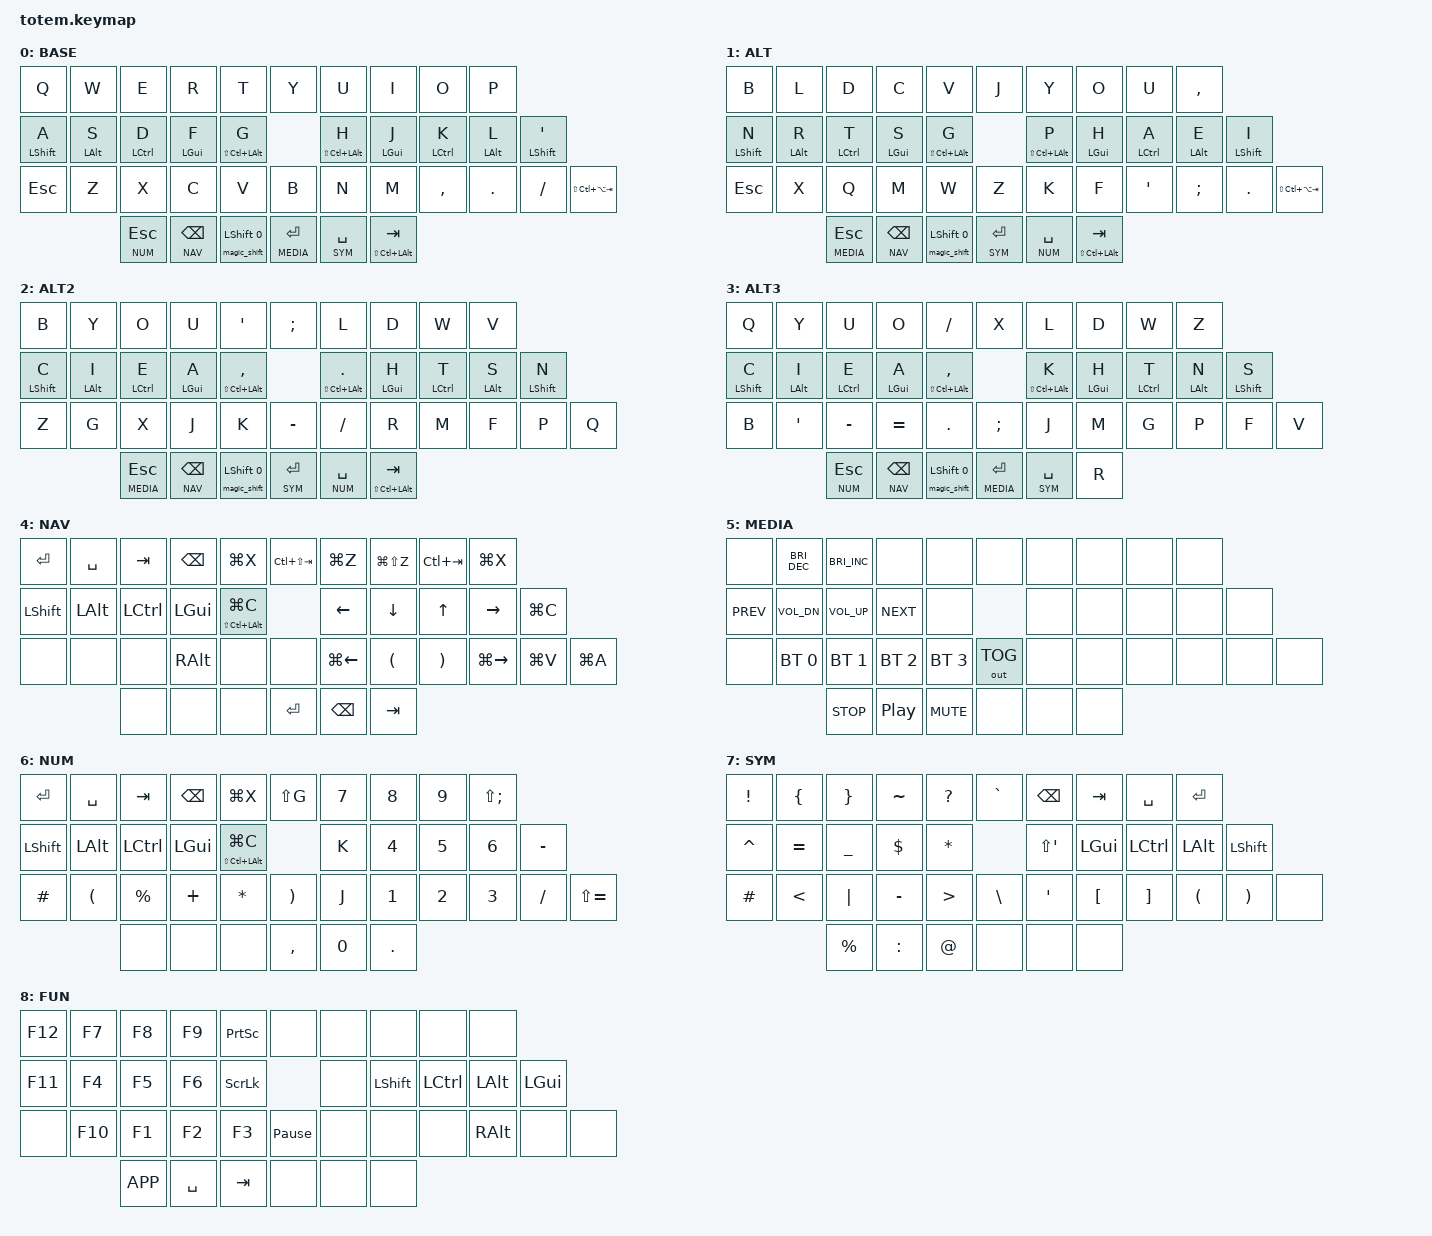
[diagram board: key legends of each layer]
//
//                                                        ▀▀▀▀▀     ▀▀▀▀▀          ▀▀█▀▀
//                                                        ▄▀▀▀▄  ▄  ▄▀▀▀▄  ▄  ▄▀▀▀▄  █  ▄▀▀▀▄
//                                                        █   █  █  █   █  █  █   █  █  █   █
//                                                         ▀▀▀   █   ▀▀▀   █   ▀▀▀   ▀   ▀▀▀
//                                                               █      ▄▄▄█▄▄▄    █   █
//                                                               ▀      █  █  █     █▄█
//                                                             ▀▀▀▀▀    █  █  █      ▀
//                                                                      ▀  ▀  ▀
//
// ▄▄▄▄▄▄▄▄▄▄▄▄▄▄▄▄▄▄▄▄▄▄▄▄▄▄▄▄▄▄▄▄▄▄▄▄▄▄▄▄▄▄▄▄▄▄▄▄▄▄▄▄▄▄▄▄▄▄▄▄▄▄▄▄▄▄▄▄▄▄▄▄▄▄▄▄▄▄▄▄▄▄▄▄▄▄▄▄▄▄▄▄▄▄▄▄▄▄▄▄▄▄▄▄▄▄▄▄▄▄▄▄▄▄▄▄▄▄▄▄▄▄▄▄▄▄▄▄▄▄▄▄▄▄▄▄▄▄▄▄▄▄▄▄▄▄▄▄▄


#include <behaviors.dtsi>
#include <dt-bindings/zmk/keys.h>
#include <dt-bindings/zmk/bt.h>
#include <dt-bindings/zmk/outputs.h>
#include "zmk-helpers/helper.h"

// Source desired key-position labels
#include "zmk-helpers/key-labels/totem.h"

// Customise build and behaviour timings
// HOLDING_TIME
#define HRM_TAPPING_TERM      400
// REPEAT DECAY
#define HRM_QUICK_TAP         175
// STREAK DECAY
#define HRM_PRIOR_IDLE        150
#define LT_QUICK_TAP          175
#define SS_QUICK_TAP          175
#define STICKY_KEY_RELEASE_MS 2000
#undef  COMBO_TERM
#define COMBO_TERM            50
#define COMBO_PRIOR_IDLE      50
#define HOLD_TAP_TAPPING_TERM 200

/* Layer Definitions */
#define BASE  0
#define ALT   1
#define ALT2  2
#define ALT3  3
#define NAV   4
#define MEDIA 5
#define NUM   6
#define SYM   7
#define FUN   8

/* define shortcodes for unused keys per layer */
#define XXX &none
#define ___ &trans

/* Functions for clipboard - mac specific */
#define U_RDO &kp LS(LG(Z))
#define U_PST &kp LG(V)
#define U_CPY &kp LG(C)
#define U_CUT &kp LG(X)
#define U_UND &kp LG(Z)

/* Customise default behaviours */
&mt {
  tapping-term-ms = <HOLD_TAP_TAPPING_TERM>;
  flavor = "balanced";
};

&lt {
  tapping-term-ms = <HOLD_TAP_TAPPING_TERM>;
  quick-tap-ms = <LT_QUICK_TAP>;
  flavor = "tap-preferred";
};

/* Homerow mods */
#define KEYS_L LT0 LT1 LT2 LT3 LT4 LM0 LM1 LM2 LM3 LM4 LB0 LB1 LB2 LB3 LB4 LB5
#define KEYS_R RT0 RT1 RT2 RT3 RT4 RM0 RM1 RM2 RM3 RM4 RB0 RB1 RB2 RB3 RB4 LB5
#define THUMBS LH2 LH1 LH0 RH0 RH1 RH2

#define MAKE_HRM(NAME, HOLD, TAP, TRIGGER_POS)                                 \
  ZMK_HOLD_TAP(NAME, bindings = <HOLD>, <TAP>; flavor = "balanced";            \
               tapping-term-ms = <HRM_TAPPING_TERM>; quick-tap-ms = <HRM_QUICK_TAP>;         \
               require-prior-idle-ms = <HRM_PRIOR_IDLE>; hold-trigger-on-release;         \
               hold-trigger-key-positions = <TRIGGER_POS>;)

MAKE_HRM(hml, &kp, &kp, KEYS_R THUMBS) // Left-hand HRMs.
MAKE_HRM(hmr, &kp, &kp, KEYS_L THUMBS) // Right-hand HRMs.

// Tap: repeat after alpha, else sticky-shift |
// Shift + tap/ double-tap: caps-word | Hold: shift.
#define MAGIC_SHIFT &magic_shift LSHFT 0
ZMK_HOLD_TAP(magic_shift, bindings = <&kp>, <&magic_shift_tap>;
             flavor = "balanced"; tapping-term-ms = <200>;
             quick-tap-ms = <SS_QUICK_TAP>;)
ZMK_MOD_MORPH(magic_shift_tap, bindings = <&shift_repeat>, <&caps_word>;
              mods = <(MOD_LSFT)>;)
ZMK_ADAPTIVE_KEY(
    shift_repeat, bindings = <&sk LSHFT>;
    repeat {
      trigger-keys = <A B C D E F G H I J K L M N O P Q R S T U V W X Y Z>;
      bindings = <&key_repeat>;
      max-prior-idle-ms = <1200>;
      strict-modifiers;
    };)
&caps_word { // Mods deactivate caps-word, requires PR #1451. [TODO: rebase]
  /delete-property/ ignore-modifiers;
};

#include "combos.dtsi"
/ {
        keymap {
                compatible = "zmk,keymap";

                base_layer {
label= "BASE"                              ;
  bindings = <
//╭──────────────┬──────────────┬──────────────┬──────────────┬──────────────╮   ╭──────────────┬──────────────┬──────────────┬──────────────┬──────────────╮
    &kp Q         &kp W          &kp E          &kp R          &kp T              &kp Y          &kp U          &kp I          &kp O          &kp P
//├──────────────┬──────────────┬──────────────┬──────────────┬──────────────╮   ╭──────────────┬──────────────┬──────────────┬──────────────┬──────────────╮
    &hml LSHFT A  &hml LALT S    &hml LCTRL D   &hml LGUI F    &hml LS(LC(LALT)) G  &hmr LS(LC(LALT)) H  &hmr LGUI J    &hmr LCTRL K   &hmr LALT L    &hmr LSHFT SQT
//├──────────────┬──────────────┬──────────────┬──────────────┬──────────────╮   ╭──────────────┬──────────────┬──────────────┬──────────────┬──────────────╮
    &kp ESC       &kp Z          &kp X          &kp C          &kp V              &kp B          &kp N          &kp M          &kp COMMA      &kp DOT        &kp SLASH      &kp LS(LC(LA(TAB)))
//                                ╭──────────────┬──────────────┬──────────────╮   ╭──────────────┬──────────────┬──────────────╮
                                  &lt NUM ESC  &lt NAV BSPC   MAGIC_SHIFT            &lt MEDIA RET    &lt SYM SPACE  &mt LS(LC(LALT)) TAB
//                                ╰──────────────┴──────────────┴──────────────╯   ╰──────────────┴──────────────┴──────────────╯
  >;
                };

                alt_layer {
label= "ALT"                              ;
  bindings = <
/* Gallium Colstag https://github.com/GalileoBlues/Gallium */
//╭──────────────┬──────────────┬──────────────┬──────────────┬──────────────╮   ╭──────────────┬──────────────┬──────────────┬──────────────┬──────────────╮
    &kp B         &kp L          &kp D          &kp C          &kp V              &kp J          &kp Y          &kp O          &kp U          &kp COMMA
//├──────────────┬──────────────┬──────────────┬──────────────┬──────────────╮   ╭──────────────┬──────────────┬──────────────┬──────────────┬──────────────╮
    &hml LSHFT N  &hml LALT R    &hml LCTRL T   &hml LGUI S    &hml LS(LC(LALT)) G  &hmr LS(LC(LALT)) P  &hmr LGUI H    &hmr LCTRL A   &hmr LALT E    &hmr LSHFT I
//├──────────────┬──────────────┬──────────────┬──────────────┬──────────────╮   ╭──────────────┬──────────────┬──────────────┬──────────────┬──────────────╮
    &kp ESC       &kp X          &kp Q          &kp M          &kp W              &kp Z          &kp K          &kp F          &kp SQT      &kp SEMICOLON        &kp DOT      &kp LS(LC(LA(TAB)))
//                                ╭──────────────┬──────────────┬──────────────╮   ╭──────────────┬──────────────┬──────────────╮
                                  &lt MEDIA ESC  &lt NAV BSPC   MAGIC_SHIFT            &lt SYM RET    &lt NUM SPACE  &mt LS(LC(LALT)) TAB
//                                ╰──────────────┴──────────────┴──────────────╯   ╰──────────────┴──────────────┴──────────────╯
  >;
                };

                alt2_layer {
label= "ALT2"                              ;
bindings = <
/* Engrammer https://github.com/sunaku/engrammer */
//╭──────────────┬──────────────┬──────────────┬──────────────┬──────────────╮   ╭──────────────┬──────────────┬──────────────┬──────────────┬──────────────╮
&kp B         &kp Y          &kp O          &kp U          &kp SQT              &kp SEMICOLON     &kp L          &kp D          &kp W          &kp V
//├──────────────┬──────────────┬──────────────┬──────────────┬──────────────╮   ╭──────────────┬──────────────┬──────────────┬──────────────┬──────────────╮
&hml LSHFT C  &hml LALT I    &hml LCTRL E   &hml LGUI A    &hml LS(LC(LALT)) COMMA  &hmr LS(LC(LALT)) DOT  &hmr LGUI H    &hmr LCTRL T   &hmr LALT S    &hmr LSHFT N
//├──────────────┬──────────────┬──────────────┬──────────────┬──────────────╮   ╭──────────────┬──────────────┬──────────────┬──────────────┬──────────────╮
&kp Z       &kp G          &kp X          &kp J          &kp K              &kp MINUS          &kp SLASH          &kp R          &kp M      &kp F        &kp P      &kp Q
//                                ╭──────────────┬──────────────┬──────────────╮   ╭──────────────┬──────────────┬──────────────╮
                  &lt MEDIA ESC  &lt NAV BSPC   MAGIC_SHIFT            &lt SYM RET    &lt NUM SPACE  &mt LS(LC(LALT)) TAB
//                                ╰──────────────┴──────────────┴──────────────╯   ╰──────────────┴──────────────┴──────────────╯
>;
};
alt3_layer {
label= "ALT3"                              ;
bindings = <
/* Enthium https://github.com/sunaku/enthium */
/*   q y u o / x l d w z */
/* b c i e a , k h t n s v */
/*   ' - = . ; j m g p f */
/*             r */
//    ╭──────────────┬──────────────┬──────────────┬──────────────┬──────────────╮          ╭──────────────┬──────────────┬──────────────┬──────────────┬──────────────╮
      &kp Q         &kp Y           &kp U          &kp O          &kp SLASH                  &kp X     &kp L          &kp D          &kp W          &kp Z
//    ├──────────────┬──────────────┬──────────────┬──────────────┬──────────────╮          ╭──────────────┬──────────────┬──────────────┬──────────────┬──────────────╮
      &hml LSHFT C  &hml LALT I     &hml LCTRL E   &hml LGUI A    &hml LS(LC(LALT)) COMMA    &hmr LS(LC(LALT)) K  &hmr LGUI H    &hmr LCTRL T   &hmr LALT N    &hmr LSHFT S
//    ├──────────────┬──────────────┬──────────────┬──────────────┬──────────────╮          ╭──────────────┬──────────────┬──────────────┬──────────────┬──────────────╮
&kp B &kp SQT       &kp MINUS       &kp EQUAL      &kp DOT         &kp SEMICOLON             &kp J          &kp M          &kp G      &kp P        &kp F      &kp V
//                                ╭──────────────┬──────────────┬──────────────╮            ╭──────────────┬──────────────┬──────────────╮
                                   &lt NUM ESC    &lt NAV BSPC   MAGIC_SHIFT                 &lt MEDIA RET  &lt SYM SPACE  &kp R
//                                ╰──────────────┴──────────────┴──────────────╯            ╰──────────────┴──────────────┴──────────────╯
>;
};
                nav_layer {
// ┏━━━━━━━━━━━━━━━━━━━━━━━━━━━━━━━━━━━━━━━┓
label= "NAV"                              ;
// ┗━━━━━━━━━━━━━━━━━━━━━━━━━━━━━━━━━━━━━━━┛
  bindings = <
//  ╭──────────────┬──────────────┬──────────────┬──────────────┬──────────────╮       ╭──────────────┬──────────────┬──────────────┬──────────────┬──────────────╮
      &kp RET       &kp SPACE     &kp TAB        &kp BSPC       &kp LG(X)               &kp LC(LS(TAB)) &kp LG(Z)     &kp LG(LS(Z))  &kp LC(TAB)     &kp LG(X)
      &kp LSHFT     &kp LALT      &kp LCTRL      &kp LGUI       &mt LS(LC(LALT)) LG(C)  &kp LEFT        &kp DOWN      &kp UP         &kp RIGHT       &kp LG(C)
XXX   XXX           XXX           &kp RALT       XXX            XXX                     &kp LG(LEFT)    &kp LPAR      &kp RPAR       &kp LG(RIGHT)   &kp LG(V)    &kp LG(A)
                                XXX           XXX           XXX                       &kp RET         &kp BSPC       &kp TAB
//                               ╰──────────────┴──────────────┴──────────────╯         ╰──────────────┴──────────────┴──────────────╯
                         >;
                };

                media_layer {
// ┏━━━━━━━━━━━━━━━━━━━━━━━━━━━━━━━━━━━━━━━┓
label= "MEDIA"                               ;
// ┗━━━━━━━━━━━━━━━━━━━━━━━━━━━━━━━━━━━━━━━┛
  bindings = <
    // ┌─────────────┬─────────────┬─────────────┬─────────────┬─────────────┐   ┌─────────────┬─────────────┬─────────────┬─────────────┬─────────────┐
    // │             │             │             │             │             │   │             │             │             │             │             │
        XXX    &kp C_BRIGHTNESS_DEC  &kp C_BRIGHTNESS_INC    XXX        XXX         XXX         XXX           XXX           XXX             XXX
    //  ├─────────────┼─────────────┼─────────────┼─────────────┼────────────┤   ├─────────────┼─────────────┼─────────────┼─────────────┼─────────────┤
    //  │  PREV       │  VOL DOWN   │  VOL UP     │  NEXT       │            │   │             │             │             │             │             │
        &kp C_PREV    &kp C_VOL_DN  &kp C_VOL_UP  &kp C_NEXT    XXX                XXX              XXX       XXX             XXX             XXX
    //  ├─────────────┼─────────────┼─────────────┼─────────────┼────────────┤   ├─────────────┼─────────────┼─────────────┼─────────────┼─────────────┤
    //  │  BT 0       │  BT 1       │  BT 2       │  BT 3       │  OUT TOGGLE│   │             │             │             │             │             │
XXX       &bt BT_SEL 0  &bt BT_SEL 1  &bt BT_SEL 2  &bt BT_SEL 3  &out OUT_TOG    XXX              XXX       XXX             XXX             XXX          XXX
    //  ├─────────────┼─────────────┼─────────────┴─────────────┴────────────┤   ├─────────────┼─────────────┼─────────────┴─────────────┴─────────────┘
    //                              │  STOP       │  PLAY/PAUSE │  MUTE      │   │             │             │
                                       &kp C_STOP    &kp C_PP      &kp C_MUTE     XXX          XXX          XXX
    //                              └────────────┴─────────────┴─────────────┘   └─────────────┴─────────────┴─────────────┘
  >;
                };

                number_layer {
// ┏━━━━━━━━━━━━━━━━━━━━━━━━━━━━━━━━━━━━━━━┓
label= "NUM"                               ;
// ┗━━━━━━━━━━━━━━━━━━━━━━━━━━━━━━━━━━━━━━━┛
 bindings = <
         &kp RET    &kp SPACE   &kp TAB    &kp BSPC     &kp LG(X)                  &kp LS(G)  &kp N7    &kp N8    &kp N9    &kp LS(SEMI)
         &kp LSHFT  &kp LALT    &kp LCTRL  &kp LGUI     &mt LS(LC(LALT)) LG(C)     &kp K      &kp N4    &kp N5    &kp N6    &kp MINUS
&kp HASH &kp LPAR   &kp PERCENT &kp PLUS   &kp ASTRK    &kp RPAR                   &kp J      &kp N1    &kp N2    &kp N3    &kp SLASH   &kp LS(EQUAL)
                                     XXX       XXX           XXX                   &kp COMMA  &kp N0    &kp DOT
                        >;
                };


                symbol_layer {
// ┏━━━━━━━━━━━━━━━━━━━━━━━━━━━━━━━━━━━━━━━┓
label= "SYM"                             ;
// ┗━━━━━━━━━━━━━━━━━━━━━━━━━━━━━━━━━━━━━━━┛
 bindings = <
            &kp EXCL       &kp LBRC  &kp RBRC       &kp TILDE         &kp QMARK          &kp GRAVE    &kp BSPC    &kp TAB   &kp SPACE   &kp RET
            &kp CARET      &kp EQUAL &kp UNDERSCORE &kp DOLLAR        &kp ASTRK          &kp LS(SQT)  &kp LGUI    &kp LCTRL &kp LALT    &kp LSHFT
  &kp HASH  &kp LESS_THAN  &kp PIPE  &kp MINUS      &kp GREATER_THAN  &kp BSLH           &kp SQT      &kp LBKT    &kp RBKT  &kp LPAR    &kp RPAR XXX
                                       &kp PERCENT    &kp COLON         &kp AT             XXX      XXX      XXX
                        >;
                };

                function_layer {
// ┏━━━━━━━━━━━━━━━━━━━━━━━━━━━━━━━━━━━━━━━┓
label= "FUN"                             ;
// ┗━━━━━━━━━━━━━━━━━━━━━━━━━━━━━━━━━━━━━━━┛
 bindings = <
  &kp F12     &kp F7    &kp F8    &kp F9    &kp PSCRN     XXX      XXX  XXX   XXX   XXX
  &kp F11     &kp F4    &kp F5    &kp F6    &kp SLCK      XXX      &kp LSHFT   &kp LCTRL   &kp LALT    &kp LGUI
  XXX &kp F10     &kp F1    &kp F2    &kp F3    &kp PAUSE_BREAK   XXX      XXX   XXX   &kp RALT    XXX XXX
              &kp K_APP   &kp SPACE   &kp TAB       XXX      XXX      XXX
                        >;
                };
        };
};
